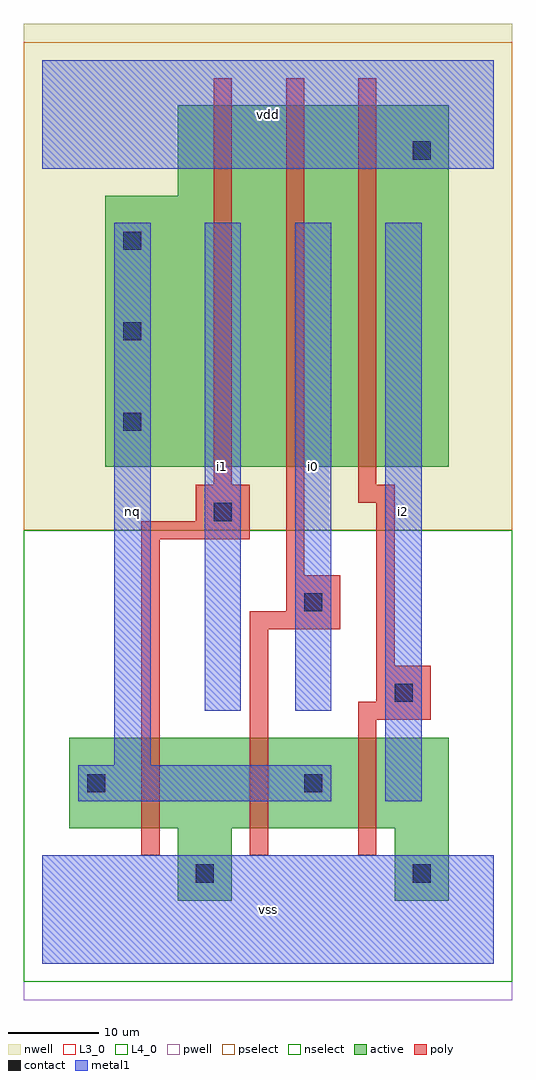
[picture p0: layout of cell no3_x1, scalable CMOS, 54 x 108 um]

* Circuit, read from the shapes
.subckt no3_x1 i0 i1 i2 nq vdd vss
M1 vss i1 nq VSUBS nfet w=10u l=2u
M2 nq i0 vss VSUBS nfet w=10u l=2u
M3 vss i2 nq VSUBS nfet w=10u l=2u
M4 n1 i1 nq n2 pfet w=40u l=2u
M5 n3 i0 n1 n2 pfet w=40u l=2u
M6 vdd i2 n3 n2 pfet w=40u l=2u
.ends

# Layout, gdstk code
import gdstk
lib = gdstk.Library(unit=1e-6, precision=1e-09)
def R(c, l, rs):  # rectangles x0, y0, x1, y1
    for r in rs: c.add(gdstk.rectangle(r[:2], r[2:], *l))
def A(c, l, x, y, w, h, nx, ny, dx, dy):  # array of equal rectangles
    R(c, l, [(x+i*dx, y+j*dy, x+i*dx+w, y+j*dy+h) for i in range(nx) for j in range(ny)])
L3_0 = (3, 0)
L4_0 = (4, 0)
contact = (25, 0)
pwell = (41, 0)
nwell = (42, 0)
active = (43, 0)
pselect = (44, 0)
nselect = (45, 0)
poly = (46, 0)
metal1 = (49, 0)

no3_x1 = lib.new_cell('no3_x1')
R(no3_x1, L3_0, [(15,7,21,15), (39,7,45,15), (3,15,45,25)])
R(no3_x1, L4_0, [(7,55,45,85), (15,85,45,95)])
A(no3_x1, contact, 9, 59, 2, 2, 1, 3, 0, 10)
R(no3_x1, contact, [(17,9,19,11), (41,9,43,11), (5,19,7,21), (29,19,31,21), (39,29,41,31), (29,39,31,41), (19,49,21,51), (41,89,43,91)])
R(no3_x1, pwell, [(-2,-4,52,48)])
R(no3_x1, nwell, [(-2,48,52,104)])
R(no3_x1, active, [(15,7,21,15), (39,7,45,15), (3,15,45,25), (7,55,45,85), (15,85,45,95)])
R(no3_x1, pselect, [(-2,48,52,102)])
R(no3_x1, nselect, [(-2,-2,52,48)])
R(no3_x1, poly, [(11,12,13,47), (23,12,25,37), (35,12,37,27), (35,27,43,29), (37,29,43,33), (37,33,39,51), (23,37,33,39), (27,39,33,43), (27,43,29,98), (11,47,23,49), (17,49,23,53), (35,51,39,53), (19,53,21,98), (35,53,37,98)])
R(no3_x1, metal1, [(0,0,50,12), (4,18,32,22), (38,18,42,82), (8,22,12,82), (18,28,22,82), (28,28,32,82), (0,88,50,100)])
no3_x1.add(gdstk.Label('i1', (20,55), layer=49, texttype=0))
no3_x1.add(gdstk.Label('nq', (10,50), layer=49, texttype=0))
no3_x1.add(gdstk.Label('vss', (25,6), layer=49, texttype=0))
no3_x1.add(gdstk.Label('i0', (30,55), layer=49, texttype=0))
no3_x1.add(gdstk.Label('vdd', (25,94), layer=49, texttype=0))
no3_x1.add(gdstk.Label('i2', (40,50), layer=49, texttype=0))

lib.write_gds('no3_x1.gds')
